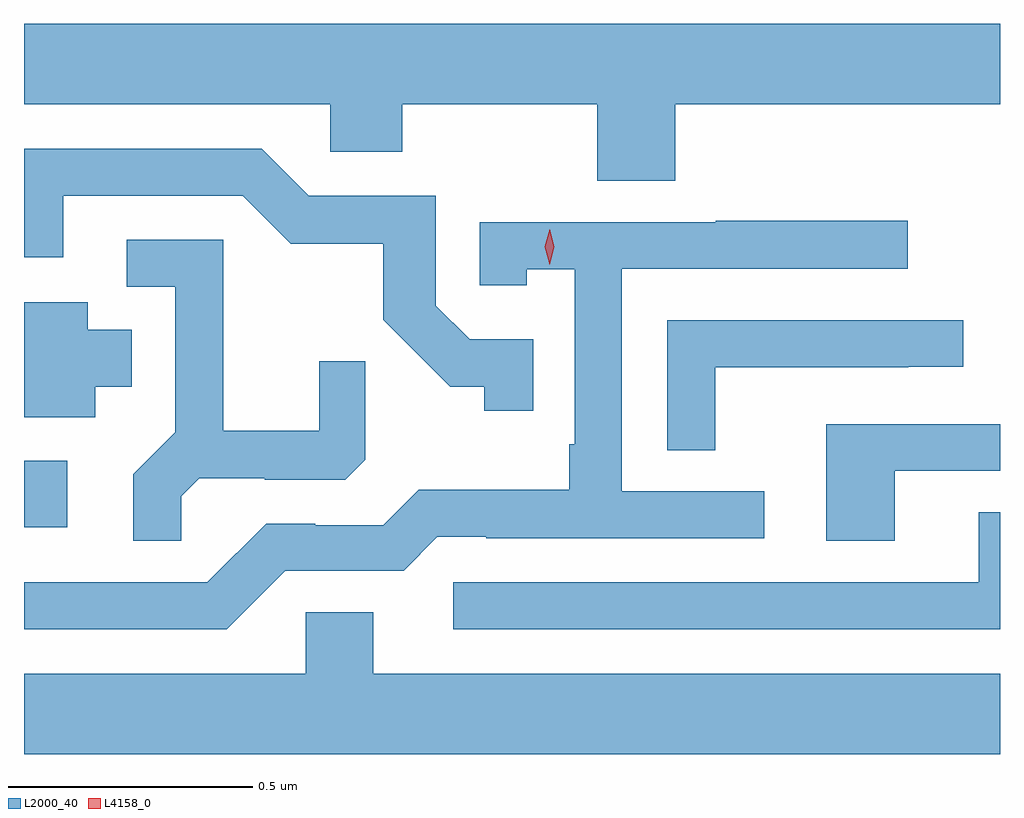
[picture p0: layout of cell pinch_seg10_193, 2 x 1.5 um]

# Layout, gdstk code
import gdstk
lib = gdstk.Library(unit=1e-6, precision=1e-09)
def R(c, l, rs):  # rectangles x0, y0, x1, y1
    for r in rs: c.add(gdstk.rectangle(r[:2], r[2:], *l))
def P(c, l, *ps):  # polygons
    for p in ps: c.add(gdstk.Polygon(p, *l))
L2000_40 = (2000, 40)
L4158_0 = (4158, 0)

pinch_seg10_193 = lib.new_cell('pinch_seg10_193')
R(pinch_seg10_193, L2000_40, [(745.685,1260.821,745.774,1260.957)])
P(pinch_seg10_193, L2000_40, [(747.02,1261.688),(747.685,1261.688),(747.685,1261.852),(745.685,1261.852),(745.685,1261.688),(746.313,1261.688),(746.313,1261.59),(746.46,1261.59),(746.46,1261.688),(746.86,1261.688),(746.86,1261.531),(747.02,1261.531)],
  [(746.729,1261.206),(746.598,1261.206),(746.529,1261.275),(746.529,1261.5),(746.268,1261.5),(746.172,1261.596),(745.685,1261.596),(745.685,1261.374),(745.765,1261.374),(745.765,1261.5),(746.133,1261.5),(746.232,1261.402),(746.421,1261.402),(746.421,1261.246),(746.558,1261.109),(746.628,1261.109),(746.628,1261.059),(746.729,1261.059)],
  [(746.22,1260.732),(746.463,1260.732),(746.532,1260.801),(746.632,1260.801),(746.632,1260.798),(747.202,1260.798),(747.202,1260.894),(746.91,1260.894),(746.91,1261.35),(747.496,1261.35),(747.496,1261.449),(747.103,1261.449),(747.103,1261.446),(746.619,1261.446),(746.619,1261.317),(746.715,1261.317),(746.715,1261.349),(746.814,1261.349),(746.814,1260.991),(746.802,1260.991),(746.802,1260.898),(746.494,1260.898),(746.421,1260.825),(746.282,1260.825),(746.282,1260.828),(746.181,1260.828),(746.061,1260.708),(745.685,1260.708),(745.685,1260.612),(746.1,1260.612)],
  [(746.007,1260.884),(746.044,1260.921),(746.178,1260.921),(746.178,1260.918),(746.343,1260.918),(746.384,1260.959),(746.384,1261.161),(746.29,1261.161),(746.29,1261.018),(746.093,1261.018),(746.093,1261.41),(745.896,1261.41),(745.896,1261.314),(745.995,1261.314),(745.995,1261.015),(745.909,1260.929),(745.909,1260.793),(746.007,1260.793)],
  [(745.831,1261.109),(745.906,1261.109),(745.906,1261.225),(745.816,1261.225),(745.816,1261.282),(745.685,1261.282),(745.685,1261.046),(745.831,1261.046)],
  [(747.102,1261.149),(747.497,1261.149),(747.497,1261.15),(747.61,1261.15),(747.61,1261.245),(747.003,1261.245),(747.003,1260.979),(747.102,1260.979)],
  [(747.469,1260.936),(747.685,1260.936),(747.685,1261.032),(747.329,1261.032),(747.329,1260.793),(747.469,1260.793)],
  [(747.685,1260.851),(747.641,1260.851),(747.641,1260.708),(746.565,1260.708),(746.565,1260.612),(747.685,1260.612)],
  [(747.685,1260.52),(746.401,1260.52),(746.401,1260.647),(746.262,1260.647),(746.262,1260.52),(745.685,1260.52),(745.685,1260.356),(747.685,1260.356)])
P(pinch_seg10_193, L4158_0, [(746.762,1261.359),(746.762,1261.359),(746.752,1261.395),(746.762,1261.431),(746.762,1261.431),(746.762,1261.431),(746.772,1261.395),(746.762,1261.359)])

lib.write_gds('pinch_seg10_193.gds')
